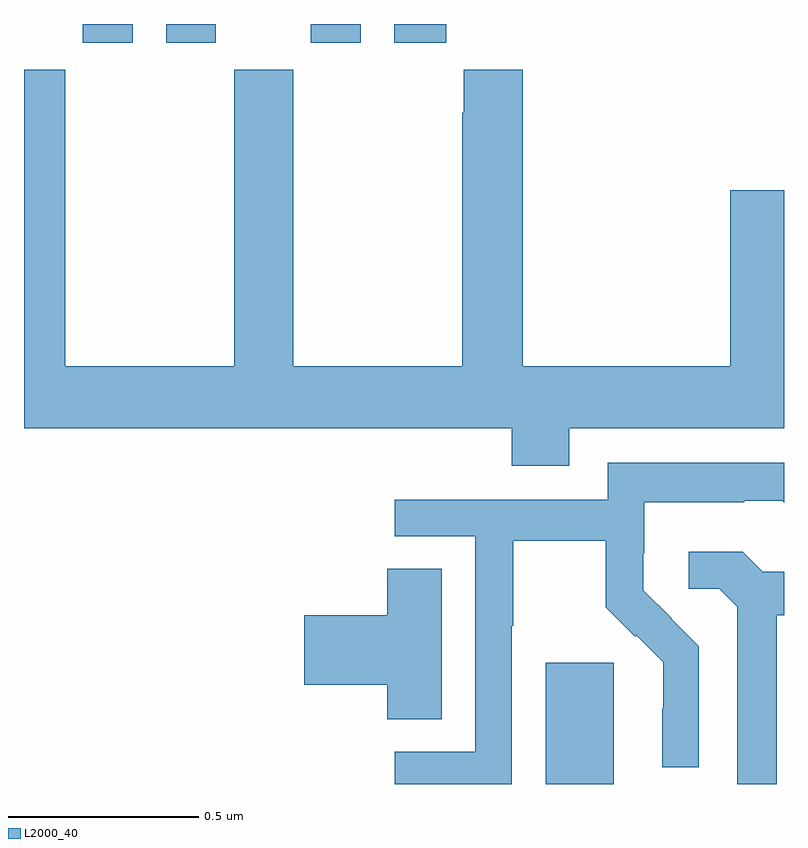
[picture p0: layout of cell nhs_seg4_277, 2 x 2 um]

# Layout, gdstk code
import gdstk
lib = gdstk.Library(unit=1e-6, precision=1e-09)
def R(c, l, rs):  # rectangles x0, y0, x1, y1
    for r in rs: c.add(gdstk.rectangle(r[:2], r[2:], *l))
def P(c, l, *ps):  # polygons
    for p in ps: c.add(gdstk.Polygon(p, *l))
L2000_40 = (2000, 40)

nhs_seg4_277 = lib.new_cell('nhs_seg4_277')
R(nhs_seg4_277, L2000_40, [(115.373,779.9,115.552,780.219), (114.155,781.851,114.286,781.9), (114.374,781.851,114.505,781.9), (114.755,781.851,114.886,781.9), (114.974,781.851,115.111,781.9)])
P(nhs_seg4_277, L2000_40, [(115.435,780.836),(116,780.836),(116,781.462),(115.859,781.462),(115.859,781),(115.313,781),(115.313,781.78),(115.157,781.78),(115.157,781.667),(115.153,781.667),(115.153,781),(114.708,781),(114.708,781.78),(114.553,781.78),(114.553,781),(114.108,781),(114.108,781.78),(114,781.78),(114,780.836),(115.283,780.836),(115.283,780.737),(115.435,780.737)],
  [(115.284,780.316),(115.287,780.316),(115.287,780.54),(115.531,780.54),(115.531,780.365),(115.608,780.288),(115.611,780.291),(115.682,780.221),(115.682,780.098),(115.68,780.098),(115.68,779.944),(115.776,779.944),(115.776,780.262),(115.703,780.335),(115.704,780.336),(115.63,780.41),(115.63,780.507),(115.632,780.507),(115.632,780.641),(115.895,780.641),(115.895,780.645),(115.995,780.645),(116,780.64),(116,780.745),(115.536,780.745),(115.536,780.648),(114.975,780.648),(114.975,780.552),(115.188,780.552),(115.188,779.985),(114.975,779.985),(114.975,779.9),(115.284,779.9)],
  [(115.981,780.344),(116,780.344),(116,780.459),(115.944,780.459),(115.892,780.511),(115.749,780.511),(115.749,780.414),(115.83,780.414),(115.877,780.367),(115.877,779.9),(115.981,779.9)],
  [(115.099,780.467),(114.956,780.467),(114.956,780.344),(114.738,780.344),(114.738,780.161),(114.956,780.161),(114.956,780.07),(115.099,780.07)])

lib.write_gds('nhs_seg4_277.gds')
